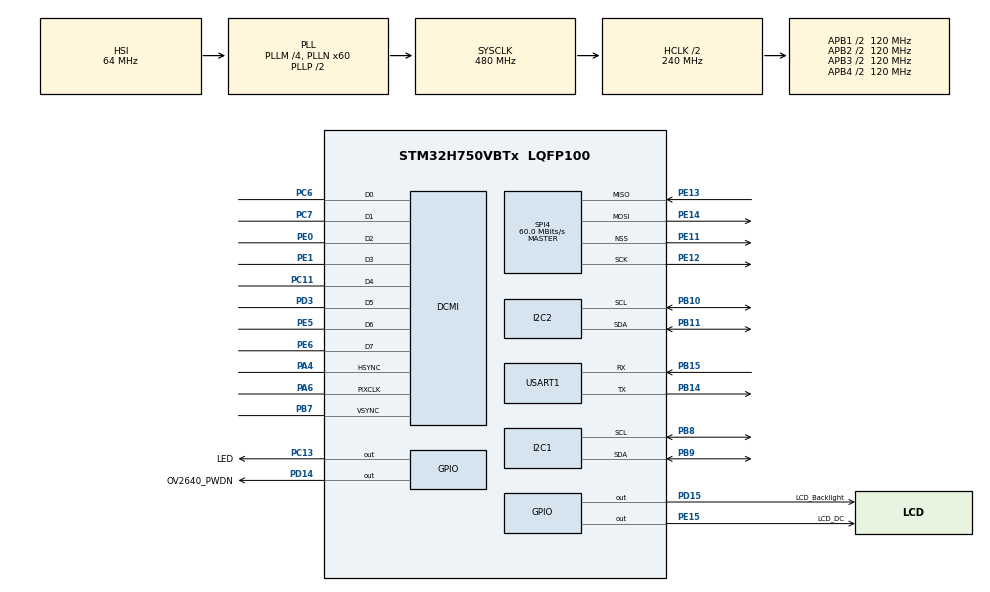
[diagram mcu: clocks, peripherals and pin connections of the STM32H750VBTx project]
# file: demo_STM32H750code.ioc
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CORTEX_M7.AccessPermission_Spec=MPU_REGION_FULL_ACCESS
CORTEX_M7.BaseAddress_Spec=0x24000000
CORTEX_M7.DisableExec_Spec=MPU_INSTRUCTION_ACCESS_ENABLE
CORTEX_M7.IsBufferable_Spec=MPU_ACCESS_BUFFERABLE
CORTEX_M7.IsCacheable_Spec=MPU_ACCESS_CACHEABLE
CORTEX_M7.Size_Spec=MPU_REGION_SIZE_512KB
CORTEX_M7.SubRegionDisable_Spec=0x00
CORTEX_M7.default_mode_Activation=1
DCMI.JPEGMode=DCMI_JPEG_DISABLE
DCMI.PCKPolarity=DCMI_PCKPOLARITY_RISING
Dma.DCMI.0.Direction=DMA_PERIPH_TO_MEMORY
Dma.DCMI.0.EventEnable=DISABLE
Dma.DCMI.0.FIFOMode=DMA_FIFOMODE_ENABLE
Dma.DCMI.0.FIFOThreshold=DMA_FIFO_THRESHOLD_FULL
Dma.DCMI.0.Instance=DMA2_Stream7
Dma.DCMI.0.MemBurst=DMA_MBURST_SINGLE
Dma.DCMI.0.MemDataAlignment=DMA_MDATAALIGN_WORD
Dma.DCMI.0.MemInc=DMA_MINC_ENABLE
Dma.DCMI.0.Mode=DMA_CIRCULAR
Dma.DCMI.0.PeriphBurst=DMA_PBURST_SINGLE
Dma.DCMI.0.PeriphDataAlignment=DMA_PDATAALIGN_WORD
Dma.DCMI.0.PeriphInc=DMA_PINC_DISABLE
Dma.DCMI.0.Polarity=HAL_DMAMUX_REQ_GEN_RISING
Dma.DCMI.0.Priority=DMA_PRIORITY_LOW
Dma.DCMI.0.RequestNumber=1
Dma.DCMI.0.SignalID=NONE
Dma.DCMI.0.SyncEnable=DISABLE
Dma.DCMI.0.SyncPolarity=HAL_DMAMUX_SYNC_NO_EVENT
Dma.DCMI.0.SyncRequestNumber=1
Dma.DCMI.0.SyncSignalID=NONE
Dma.Request0=DCMI
I2C1.Timing=0x307075B1
I2C2.Timing=0x307075B1
Mcu.Family=STM32H7
Mcu.Name=STM32H750VBTx
Mcu.Package=LQFP100
NVIC.DCMI_IRQn=true\:0\:0\:false\:false\:true\:true\:true\:true
NVIC.DMA2_Stream7_IRQn=true\:0\:0\:false\:false\:true\:false\:true\:true
NVIC.PriorityGroup=NVIC_PRIORITYGROUP_4
PA13\ (JTMS/SWDIO).Mode=Serial_Wire
PA13\ (JTMS/SWDIO).Signal=DEBUG_JTMS-SWDIO
PA14\ (JTCK/SWCLK).Mode=Serial_Wire
PA14\ (JTCK/SWCLK).Signal=DEBUG_JTCK-SWCLK
PA4.Mode=Slave_8_bits_External_Synchro
PA4.Signal=DCMI_HSYNC
PA6.Mode=Slave_8_bits_External_Synchro
PA6.Signal=DCMI_PIXCLK
PB10.Mode=I2C
PB10.Signal=I2C2_SCL
PB11.Mode=I2C
PB11.Signal=I2C2_SDA
PB14.Mode=Asynchronous
PB14.Signal=USART1_TX
PB15.Mode=Asynchronous
PB15.Signal=USART1_RX
PB7.Mode=Slave_8_bits_External_Synchro
PB7.Signal=DCMI_VSYNC
PB8.Mode=I2C
PB8.Signal=I2C1_SCL
PB9.Mode=I2C
PB9.Signal=I2C1_SDA
PC11.Mode=Slave_8_bits_External_Synchro
PC11.Signal=DCMI_D4
PC13.GPIO_Label=LED
PC13.GPIO_PuPd=GPIO_NOPULL
PC13.PinState=GPIO_PIN_SET
PC13.Signal=GPIO_Output
PC14-OSC32_IN\ (OSC32_IN).Mode=LSE-External-Oscillator
PC14-OSC32_IN\ (OSC32_IN).Signal=RCC_OSC32_IN
PC15-OSC32_OUT\ (OSC32_OUT).Mode=LSE-External-Oscillator
PC15-OSC32_OUT\ (OSC32_OUT).Signal=RCC_OSC32_OUT
PC6.Mode=Slave_8_bits_External_Synchro
PC6.Signal=DCMI_D0
PC7.Mode=Slave_8_bits_External_Synchro
PC7.Signal=DCMI_D1
PD14.GPIO_Label=OV2640_PWDN
PD14.GPIO_PuPd=GPIO_PULLUP
PD14.Signal=GPIO_Output
PD15.GPIO_Label=LCD_Backlight
PD15.Signal=GPIO_Output
PD3.Mode=Slave_8_bits_External_Synchro
PD3.Signal=DCMI_D5
PE0.Mode=Slave_8_bits_External_Synchro
PE0.Signal=DCMI_D2
PE1.Mode=Slave_8_bits_External_Synchro
PE1.Signal=DCMI_D3
PE11.Mode=NSS_Signal_Hard_Output
PE11.Signal=SPI4_NSS
PE12.Mode=Full_Duplex_Master
PE12.Signal=SPI4_SCK
PE13.Mode=Full_Duplex_Master
PE13.Signal=SPI4_MISO
PE14.Mode=Full_Duplex_Master
PE14.Signal=SPI4_MOSI
PE15.GPIO_Label=LCD_DC
PE15.Signal=GPIO_Output
PE5.Mode=Slave_8_bits_External_Synchro
PE5.Signal=DCMI_D6
PE6.Mode=Slave_8_bits_External_Synchro
PE6.Signal=DCMI_D7
PH0-OSC_IN\ (PH0).Mode=HSE-External-Oscillator
PH0-OSC_IN\ (PH0).Signal=RCC_OSC_IN
PH1-OSC_OUT\ (PH1).Mode=HSE-External-Oscillator
PH1-OSC_OUT\ (PH1).Signal=RCC_OSC_OUT
ProjectManager.HeapSize=0x200
ProjectManager.StackSize=0x400
ProjectManager.TargetToolchain=MDK-ARM V5.32
RCC.ADCFreq_Value=129000000
RCC.APB1Freq_Value=120000000
RCC.APB2Freq_Value=120000000
RCC.APB3Freq_Value=120000000
RCC.APB4Freq_Value=120000000
RCC.CortexFreq_Value=480000000
RCC.D1PPRE=RCC_APB3_DIV2
RCC.D2PPRE1=RCC_APB1_DIV2
RCC.D2PPRE2=RCC_APB2_DIV2
RCC.D3PPRE=RCC_APB4_DIV2
RCC.DIVM1=4
RCC.DIVN1=60
RCC.HCLKFreq_Value=240000000
RCC.HPRE=RCC_HCLK_DIV2
RCC.PLL2FRACN=0
RCC.PLL3FRACN=0
RCC.PLLFRACN=0
RCC.SYSCLKFreq_VALUE=480000000
RCC.SYSCLKSource=RCC_SYSCLKSOURCE_PLLCLK
RCC.USBFreq_Value=480000000
SPI4.CalculateBaudRate=60.0 MBits/s
SPI4.DataSize=SPI_DATASIZE_8BIT
SPI4.Direction=SPI_DIRECTION_2LINES
SPI4.FifoThreshold=SPI_FIFO_THRESHOLD_02DATA
SPI4.Mode=SPI_MODE_MASTER
SPI4.VirtualNSS=VM_NSSHARD
SPI4.VirtualType=VM_MASTER
USART1.VirtualMode-Asynchronous=VM_ASYNC
VP_MEMORYMAP_VS_MEMORYMAP.Mode=CurAppReg
board=custom

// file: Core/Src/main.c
/* USER CODE BEGIN Header */
/**
  ******************************************************************************
  * @file           : main.c
  * @brief          : Main program body
  ******************************************************************************
  * @attention
  *
  * Copyright (c) 2025 STMicroelectronics.
  * All rights reserved.
  *
  * This software is licensed under terms that can be found in the LICENSE file
  * in the root directory of this software component.
  * If no LICENSE file comes with this software, it is provided AS-IS.
  *
  ******************************************************************************
  */
/* USER CODE END Header */
#include "main.h"
#include "dcmi.h"
#include "dma.h"
#include "i2c.h"
#include "memorymap.h"
#include "spi.h"
#include "usart.h"
#include "gpio.h"

/* USER CODE BEGIN Includes */
#include "OLED.h"
#include "lcd_spi_130.h"
#include "dcmi_ov2640.h"
#include "sccb.h"
/* USER CODE END Includes */

void SystemClock_Config(void);
static void MPU_Config(void);

/* USER CODE BEGIN 0 */
#define Camera_Buffer	0x24000000  //摄像头图形缓冲区

//比赛logo的点阵信息
const uint8_t logo_main[] = {
        0x00,0x00,0x00,0x00,0x00,0x00,0x00,0x00,0x00,0x00,0x00,0x00,0x00,0x00,0x00,0x00,0x00,0x00,0x00,0x00,0x00,0x00,0x00,0x00,0x00,0x00,0x00,0x00,0x00,0x00,0x00,0x00,0x00,0x00,0x00,0x00,0x00,0x00,0x00,0x00,
        0x00,0x00,0x00,0x00,0x00,0x00,0x00,0x00,0x00,0x00,0x00,0x00,0x00,0x00,0x00,0x00,0x00,0x00,0x00,0x00,0x00,0x00,0x00,0x00,0x00,0x00,0x00,0x00,0x00,0x00,0x00,0x00,0x00,0x00,0x00,0x00,0x00,0x00,0x00,0x00,
        0x00,0x00,0x00,0x00,0x00,0x00,0x00,0x00,0x00,0x00,0x00,0x00,0x00,0x00,0x00,0x00,0x00,0x00,0x00,0x00,0x00,0x00,0x00,0x00,0x00,0x00,0x00,0x00,0x00,0x00,0x00,0x00,0x00,0x00,0x00,0x00,0x00,0x00,0x00,0x00,
        0x00,0x00,0x00,0x00,0x00,0x00,0x00,0x00,0x00,0x00,0x00,0x00,0x00,0x00,0x00,0x00,0x80,0x80,0x80,0x80,0xC0,0x20,0x20,0x20,0x20,0x3E,0x20,0x20,0x3E,0x20,0x20,0x3E,0x20,0x20,0x3E,0x20,0xE0,0x80,0x80,0x80,0x80,0x00,0x00,0x00,0x60,0x60,
        0x70,0x60,0x60,0x60,0x70,0x60,0x60,0x00,0x00,0x00,0xE0,0x00,0x00,0xE0,0x00,0x00,0xE0,0x00,0x00,0x20,0x20,0x00,0x20,0x20,0xE0,0x20,0x20,0x20,0x00,0xA0,0x20,0x80,0xC0,0xA0,0xA0,0xA0,0xE0,0xC0,0x00,0x00,
        0x00,0x00,0x00,0x80,0xC0,0x20,0x80,0x60,0x40,0x40,0x40,0xC0,0xC0,0x00,0xE0,0x40,0x40,0xE0,0x20,0x20,0x20,0xA0,0xE0,0x00,0x00,0x00,0x80,0xE0,0x20,0x60,0xE0,0x00,0x00,0x00,
        0x00,0xE0,0x00,0x00,0x00,0x00,0xE0,0x00,0x00,0x00,0x00,0x00,0x00,0x00,0x00,0x00,0x00,0x00,0x00,0x00,0x00,0x00,0x00,0x00,0x24,0x24,0x24,0x24,0xFF,0x00,0x00,0xEC,0xBE,0x12,0xBE,0xEC,0x20,0xF0,0x20,0xF8,
        0x20,0xE0,0x00,0x00,0xFF,0x24,0x24,0x24,0x24,0x00,0x00,0x00,0x30,0x0F,0x00,0x3F,0x20,0x2F,0x20,0x27,0x38,0x03,0x00,0x20,0x23,0x10,0x0C,0x0F,0x18,0x20,0x23,0x20,0x00,0x01,0x3F,0x00,0x3F,0x20,0x3F,0x22,
        0x22,0x22,0x00,0x21,0x3F,0x32,0x26,0x32,0x3F,0x22,0x22,0x3E,0x00,0x00,0x50,0x30,0x00,0x00,0x3F,0x00,0x30,0x0E,0x20,0x3F,0x00,0x1E,0x20,0x00,0x27,0x38,0x38,0x27,0x01,0x21,0x21,0x3F,0x01,0x00,0x20,0x3C,
        0x0F,0x0C,0x0C,0x0C,0x0F,0x3F,0x30,0x00,0x00,0x3F,0x00,0x00,0x00,0x00,0x2F,0x00,0x00,0x00,0x00,0x00,0x00,0x00,0x00,0x00,0x00,0x00,0x00,0x00,0x00,0x00,0x00,0x00,0x01,0x01,0x01,0x01,0x0F,0x10,0x10,0x10,
        0x11,0xF1,0x11,0x10,0xF0,0x10,0x10,0xF0,0x10,0x10,0xF0,0x10,0x1F,0x01,0x01,0x01,0x01,0x00,0x00,0x00,0x31,0x29,0x26,0x00,0x00,0x00,0x00,0x0C,0x13,0x11,0x11,0x0E,0x00,0x00,0x00,0x00,0x21,0x31,0x29,0x26,
        0x00,0x00,0x00,0x00,0x00,0x37,0x25,0x3D,0x00,0x00,0x00,0x00,0x00,0x00,0x3D,0x0C,0x05,0x12,0x11,0x00,0x00,0x00,0x00,0x00,0x00,0x00,0x11,0x06,0x04,0x10,0x00,0x00,0x00,0x00,0x00,0x00,0x06,0x1E,0x16,0x07,
        0x03,0x12,0x00,0x00,0x00,0x00,0x00,0x00,0x10,0x08,0x0C,0x10,0x20,0x00,0x00,0x00,0x00,0x00,0x04,0x1D,0x0D,0x1D,0x1D,0x0D,0x00,0x00,0x00,0x00,0x00,0x00,0x00,0x00,0x00,0x00,0x00,0x00,0x00,0x00,0x00,0x00,
        0x00,0x00,0x00,0x00,0x00,0x00,0x00,0x00,0x00,0x03,0x00,0x00,0x03,0x00,0x00,0x03,0x00,0x00,0x03,0x00,0x00,0x00,0x00,0x00,0x00,0x00,0x00,0x00,0x00,0x00,0x00,0x00,0x00,0x00,0x00,0x00,0x00,0x00,0x00,0x00,
        0x00,0x00,0x00,0x00,0x00,0x00,0x00,0x00,0x00,0x00,0x00,0x00,0x00,0x00,0x00,0x00,0x00,0x00,0x00,0x00,0x00,0x00,0x00,0x00,0x00,0x00,0x00,0x00,0x00,0x00,0x00,0x00,0x00,0x00,0x00,0x00,0x00,0x00,0x00,0x00,
        0x00,0x00,0x00,0x00,0x00,0x00,0x00,0x00,0x00,0x00,0x00,0x00,0x00,0x00,0x00,0x00,0x00,0x00,0x00,0x00,0x00,0x00,0x00,0x00,0x00,0x00,0x00,0x00,0x00,0x00,0x00,0x00,0x00,0x00,0x00,0x00,0x00,0x00,0x00,0x00,
        0x00,0x00,0x00,0x00,0x00,0x00,0x00,0x00,0x00,0x00,0x00,0x00,0x00,0x00,0x00,0x00,0x00,0x00,0x00,0x00,0x00,0x00,0x00,0x00,0x00,0x00,0x00,0x00,0x00,0x00,0x00,0x00,0x00,0x00,0x00,0x00,0x00,0x00,0x00,0x00,
        0x00,0x00,0x00,0x00,0x00,0x00,0x00,0x00,0x00,0x00,0x00,0x00,0x00,0x00,0x00,0x00,0x00,0x00,0x00,0x00,0x00,0x00,0x00,0x00,0x00,0x00,0x00,0x00,0x00,0x00,0x00,0x00,0x00,0x00,0x00,0x00,0x00,0x00,0x00,0x00,
        0x00,0x00,0x00,0x00,0x00,0x00,0x00,0x00,0x00,0x00,0x00,0x00,0x00,0x00,0x00,0x00,0x00,0x00,0x00,0x00,0x00,0x00,0x00,0x00,0x00,0x00,0x00,0x00,0x00,0x00,0x00,0x00,0x00,0x00,0x00,0x00,0x00,0x00,0x00,0x00,
        0x00,0x00,0x00,0x00,0x00,0x00,0x00,0x00}; // “芯火征途，你好AI”logo

/* USER CODE END 0 */

int main(void)
{

  /* MPU Configuration--------------------------------------------------------*/
  MPU_Config();

  /* MCU Configuration--------------------------------------------------------*/

  /* Reset of all peripherals, Initializes the Flash interface and the Systick. */
  HAL_Init();

  /* USER CODE BEGIN Init */
  SCB_EnableICache();
	SCB_EnableDCache();
  /* USER CODE END Init */

  /* Configure the system clock */
  SystemClock_Config();

  /* Initialize all configured peripherals */
  MX_GPIO_Init();
  MX_DMA_Init();
  MX_I2C2_Init();
  MX_DCMI_Init();
  MX_I2C1_Init();
  MX_SPI4_Init();
  MX_USART1_UART_Init();
  /* USER CODE BEGIN 2 */
  OLED_Init();
  SPI_LCD_Init();
	DCMI_OV2640_Init();

	OV2640_DMA_Transmit_Continuous(Camera_Buffer, OV2640_BufferSize);
  /* USER CODE END 2 */

  /* Infinite loop */
  /* USER CODE BEGIN WHILE */
  while (1)
  {
    OLED_ShowString(0,3,"Init Success!",OLED_8X16);
    OLED_ShowImage(0,21,128,43,logo_main);
    OLED_Update();
    /* USER CODE END WHILE */

    /* USER CODE BEGIN 3 */
    if (DCMI_FrameState == 1)
		{
      DCMI_FrameState = 0;

      LCD_CopyBuffer(0,0,Display_Width,Display_Height, (uint16_t *)Camera_Buffer);

			LCD_DisplayString( 84 ,200,"FPS:");
			LCD_DisplayNumber( 132,200, OV2640_FPS,2) ;
		}
  }
  /* USER CODE END 3 */
}

void SystemClock_Config(void)
{
  RCC_OscInitTypeDef RCC_OscInitStruct = {0};
  RCC_ClkInitTypeDef RCC_ClkInitStruct = {0};

  /** Supply configuration update enable
  */
  HAL_PWREx_ConfigSupply(PWR_LDO_SUPPLY);

  /** Configure the main internal regulator output voltage
  */
  __HAL_PWR_VOLTAGESCALING_CONFIG(PWR_REGULATOR_VOLTAGE_SCALE1);

  while(!__HAL_PWR_GET_FLAG(PWR_FLAG_VOSRDY)) {}

  __HAL_RCC_SYSCFG_CLK_ENABLE();
  __HAL_PWR_VOLTAGESCALING_CONFIG(PWR_REGULATOR_VOLTAGE_SCALE0);

  while(!__HAL_PWR_GET_FLAG(PWR_FLAG_VOSRDY)) {}

  /** Initializes the RCC Oscillators according to the specified parameters
  * in the RCC_OscInitTypeDef structure.
  */
  RCC_OscInitStruct.OscillatorType = RCC_OSCILLATORTYPE_HSI;
  RCC_OscInitStruct.HSIState = RCC_HSI_DIV1;
  RCC_OscInitStruct.HSICalibrationValue = RCC_HSICALIBRATION_DEFAULT;
  RCC_OscInitStruct.PLL.PLLState = RCC_PLL_ON;
  RCC_OscInitStruct.PLL.PLLSource = RCC_PLLSOURCE_HSI;
  RCC_OscInitStruct.PLL.PLLM = 4;
  RCC_OscInitStruct.PLL.PLLN = 60;
  RCC_OscInitStruct.PLL.PLLP = 2;
  RCC_OscInitStruct.PLL.PLLQ = 2;
  RCC_OscInitStruct.PLL.PLLR = 2;
  RCC_OscInitStruct.PLL.PLLRGE = RCC_PLL1VCIRANGE_3;
  RCC_OscInitStruct.PLL.PLLVCOSEL = RCC_PLL1VCOWIDE;
  RCC_OscInitStruct.PLL.PLLFRACN = 0;
  if (HAL_RCC_OscConfig(&RCC_OscInitStruct) != HAL_OK)
  {
    Error_Handler();
  }

  /** Initializes the CPU, AHB and APB buses clocks
  */
  RCC_ClkInitStruct.ClockType = RCC_CLOCKTYPE_HCLK|RCC_CLOCKTYPE_SYSCLK
                              |RCC_CLOCKTYPE_PCLK1|RCC_CLOCKTYPE_PCLK2
                              |RCC_CLOCKTYPE_D3PCLK1|RCC_CLOCKTYPE_D1PCLK1;
  RCC_ClkInitStruct.SYSCLKSource = RCC_SYSCLKSOURCE_PLLCLK;
  RCC_ClkInitStruct.SYSCLKDivider = RCC_SYSCLK_DIV1;
  RCC_ClkInitStruct.AHBCLKDivider = RCC_HCLK_DIV2;
  RCC_ClkInitStruct.APB3CLKDivider = RCC_APB3_DIV2;
  RCC_ClkInitStruct.APB1CLKDivider = RCC_APB1_DIV2;
  RCC_ClkInitStruct.APB2CLKDivider = RCC_APB2_DIV2;
  RCC_ClkInitStruct.APB4CLKDivider = RCC_APB4_DIV2;

  if (HAL_RCC_ClockConfig(&RCC_ClkInitStruct, FLASH_LATENCY_4) != HAL_OK)
  {
    Error_Handler();
  }
}

 /* MPU Configuration */

void MPU_Config(void)
{
  MPU_Region_InitTypeDef MPU_InitStruct = {0};

  /* Disables the MPU */
  HAL_MPU_Disable();

  /** Initializes and configures the Region and the memory to be protected
  */
  MPU_InitStruct.Enable = MPU_REGION_ENABLE;
  MPU_InitStruct.Number = MPU_REGION_NUMBER0;
  MPU_InitStruct.BaseAddress = 0x24000000;
  MPU_InitStruct.Size = MPU_REGION_SIZE_512KB;
  MPU_InitStruct.SubRegionDisable = 0x00;
  MPU_InitStruct.TypeExtField = MPU_TEX_LEVEL0;
  MPU_InitStruct.AccessPermission = MPU_REGION_FULL_ACCESS;
  MPU_InitStruct.DisableExec = MPU_INSTRUCTION_ACCESS_ENABLE;
  MPU_InitStruct.IsShareable = MPU_ACCESS_SHAREABLE;
  MPU_InitStruct.IsCacheable = MPU_ACCESS_CACHEABLE;
  MPU_InitStruct.IsBufferable = MPU_ACCESS_BUFFERABLE;

  HAL_MPU_ConfigRegion(&MPU_InitStruct);
  /* Enables the MPU */
  HAL_MPU_Enable(MPU_PRIVILEGED_DEFAULT);

}

void Error_Handler(void)
{
  __disable_irq();
  while (1)
  {
  }
}
